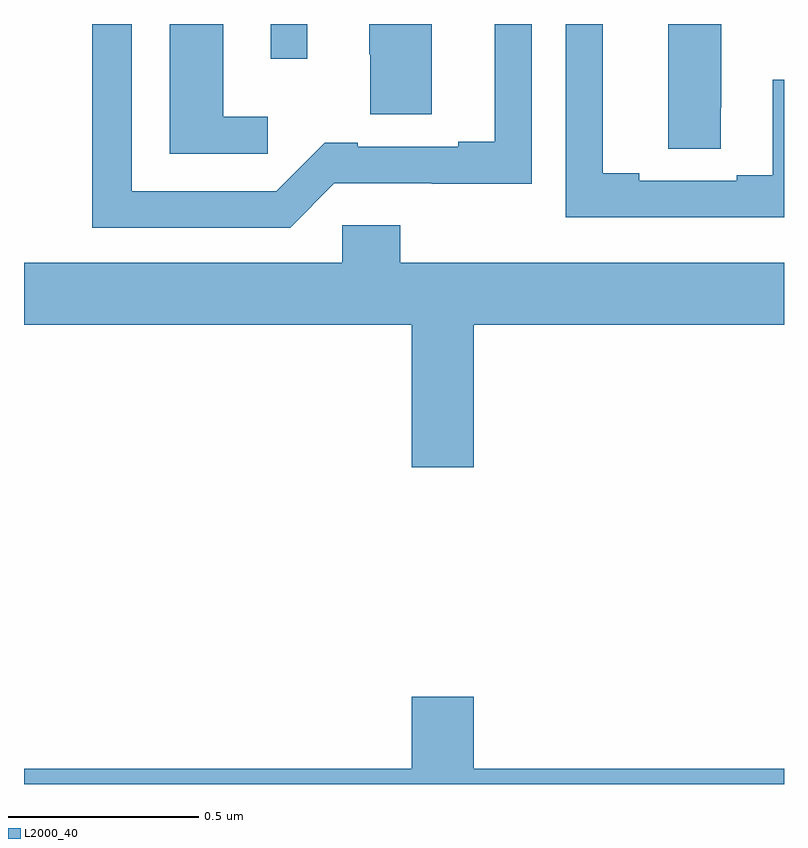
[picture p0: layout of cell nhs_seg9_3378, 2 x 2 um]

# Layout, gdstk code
import gdstk
lib = gdstk.Library(unit=1e-6, precision=1e-09)
def R(c, l, rs):  # rectangles x0, y0, x1, y1
    for r in rs: c.add(gdstk.rectangle(r[:2], r[2:], *l))
def P(c, l, *ps):  # polygons
    for p in ps: c.add(gdstk.Polygon(p, *l))
L2000_40 = (2000, 40)

nhs_seg9_3378 = lib.new_cell('nhs_seg9_3378')
R(nhs_seg9_3378, L2000_40, [(152.649,1242.408,152.746,1242.5)])
P(nhs_seg9_3378, L2000_40, [(154,1242.353),(153.971,1242.353),(153.971,1242.102),(153.875,1242.102),(153.875,1242.087),(153.619,1242.087),(153.619,1242.107),(153.523,1242.107),(153.523,1242.5),(153.426,1242.5),(153.426,1241.991),(154,1241.991)],
  [(152.641,1242.256),(152.524,1242.256),(152.524,1242.5),(152.384,1242.5),(152.384,1242.159),(152.641,1242.159)],
  [(153.834,1242.28),(153.835,1242.28),(153.835,1242.5),(153.695,1242.5),(153.695,1242.172),(153.834,1242.172)],
  [(153.073,1242.5),(152.909,1242.5),(152.909,1242.42),(152.911,1242.42),(152.911,1242.262),(153.073,1242.262)],
  [(152.817,1242.081),(153.073,1242.081),(153.073,1242.08),(153.336,1242.08),(153.336,1242.5),(153.239,1242.5),(153.239,1242.19),(153.143,1242.19),(153.143,1242.177),(152.878,1242.177),(152.878,1242.188),(152.792,1242.188),(152.664,1242.06),(152.284,1242.06),(152.284,1242.5),(152.18,1242.5),(152.18,1241.964),(152.7,1241.964)],
  [(153.184,1241.708),(154,1241.708),(154,1241.872),(152.99,1241.872),(152.99,1241.97),(152.838,1241.97),(152.838,1241.872),(152,1241.872),(152,1241.708),(153.02,1241.708),(153.02,1241.334),(153.184,1241.334)],
  [(154,1240.54),(153.184,1240.54),(153.184,1240.729),(153.02,1240.729),(153.02,1240.54),(152,1240.54),(152,1240.5),(154,1240.5)])

lib.write_gds('nhs_seg9_3378.gds')
